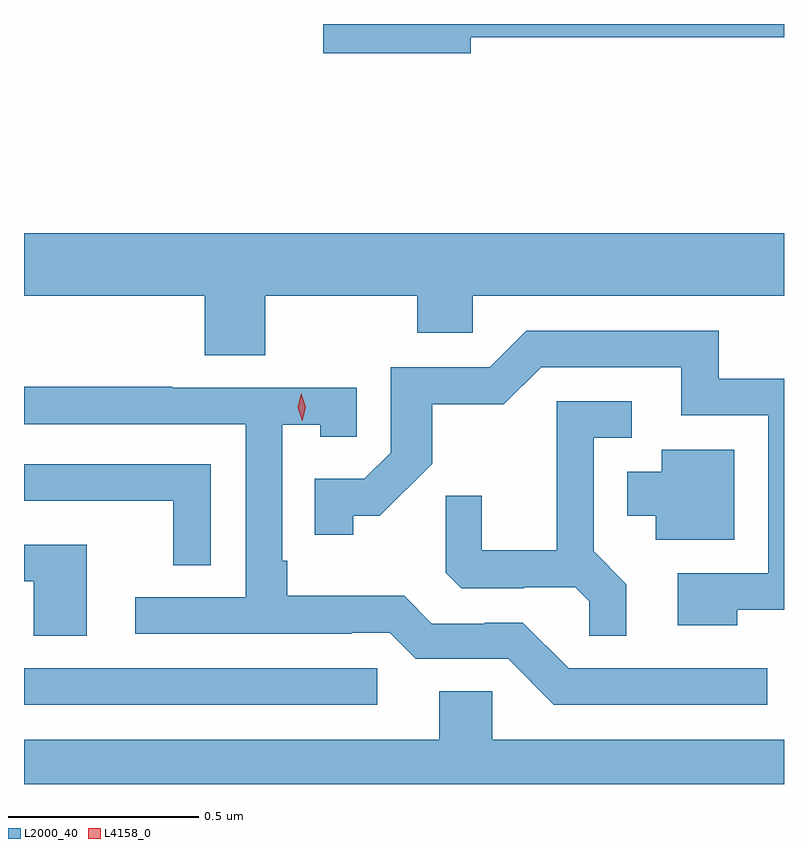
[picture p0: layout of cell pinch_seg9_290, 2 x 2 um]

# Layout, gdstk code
import gdstk
lib = gdstk.Library(unit=1e-6, precision=1e-09)
def R(c, l, rs):  # rectangles x0, y0, x1, y1
    for r in rs: c.add(gdstk.rectangle(r[:2], r[2:], *l))
def P(c, l, *ps):  # polygons
    for p in ps: c.add(gdstk.Polygon(p, *l))
L2000_40 = (2000, 40)
L4158_0 = (4158, 0)

pinch_seg9_290 = lib.new_cell('pinch_seg9_290')
R(pinch_seg9_290, L2000_40, [(488.89,1188.684,489.82,1188.78)])
P(pinch_seg9_290, L2000_40, [(490.066,1190.44),(490.89,1190.44),(490.89,1190.475),(489.678,1190.475),(489.678,1190.398),(490.066,1190.398)],
  [(488.89,1189.76),(489.365,1189.76),(489.365,1189.603),(489.525,1189.603),(489.525,1189.76),(489.925,1189.76),(489.925,1189.662),(490.071,1189.662),(490.071,1189.76),(490.89,1189.76),(490.89,1189.924),(488.89,1189.924)],
  [(490.767,1188.933),(490.89,1188.933),(490.89,1189.542),(490.718,1189.542),(490.718,1189.668),(490.212,1189.668),(490.116,1189.572),(489.855,1189.572),(489.855,1189.347),(489.786,1189.278),(489.655,1189.278),(489.655,1189.131),(489.756,1189.131),(489.756,1189.181),(489.826,1189.181),(489.964,1189.318),(489.964,1189.474),(490.153,1189.474),(490.251,1189.572),(490.619,1189.572),(490.619,1189.446),(490.848,1189.446),(490.848,1189.029),(490.611,1189.029),(490.611,1188.893),(490.767,1188.893)],
  [(490.846,1188.78),(490.323,1188.78),(490.203,1188.9),(490.102,1188.9),(490.102,1188.897),(489.963,1188.897),(489.89,1188.97),(489.583,1188.97),(489.583,1189.063),(489.57,1189.063),(489.57,1189.421),(489.669,1189.421),(489.669,1189.389),(489.765,1189.389),(489.765,1189.518),(489.281,1189.518),(489.281,1189.521),(488.89,1189.521),(488.89,1189.422),(489.474,1189.422),(489.474,1188.966),(489.183,1188.966),(489.183,1188.87),(489.752,1188.87),(489.752,1188.873),(489.852,1188.873),(489.921,1188.804),(490.164,1188.804),(490.284,1188.684),(490.846,1188.684)],
  [(490.475,1189.001),(490.389,1189.087),(490.389,1189.386),(490.489,1189.386),(490.489,1189.482),(490.292,1189.482),(490.292,1189.09),(490.094,1189.09),(490.094,1189.233),(490,1189.233),(490,1189.031),(490.041,1188.99),(490.206,1188.99),(490.206,1188.993),(490.34,1188.993),(490.377,1188.956),(490.377,1188.865),(490.475,1188.865)],
  [(490.759,1189.354),(490.568,1189.354),(490.568,1189.297),(490.478,1189.297),(490.478,1189.181),(490.553,1189.181),(490.553,1189.118),(490.759,1189.118)],
  [(489.381,1189.317),(488.89,1189.317),(488.89,1189.221),(489.283,1189.221),(489.283,1189.051),(489.381,1189.051)],
  [(489.055,1189.104),(488.89,1189.104),(488.89,1189.008),(488.915,1189.008),(488.915,1188.865),(489.055,1188.865)],
  [(490.89,1188.592),(490.122,1188.592),(490.122,1188.719),(489.983,1188.719),(489.983,1188.592),(488.89,1188.592),(488.89,1188.475),(490.89,1188.475)])
P(pinch_seg9_290, L4158_0, [(489.622,1189.431),(489.622,1189.431),(489.611,1189.466),(489.619,1189.502),(489.619,1189.503),(489.62,1189.502),(489.631,1189.467),(489.622,1189.431)])

lib.write_gds('pinch_seg9_290.gds')
